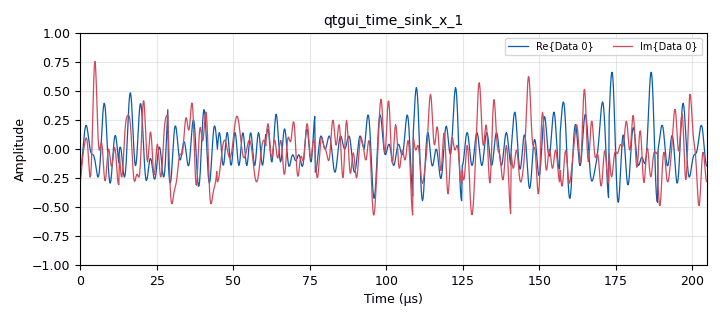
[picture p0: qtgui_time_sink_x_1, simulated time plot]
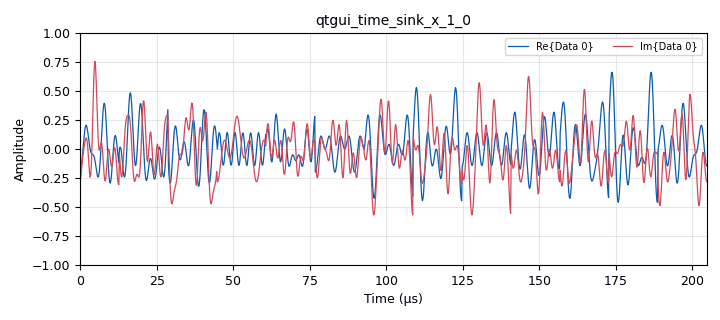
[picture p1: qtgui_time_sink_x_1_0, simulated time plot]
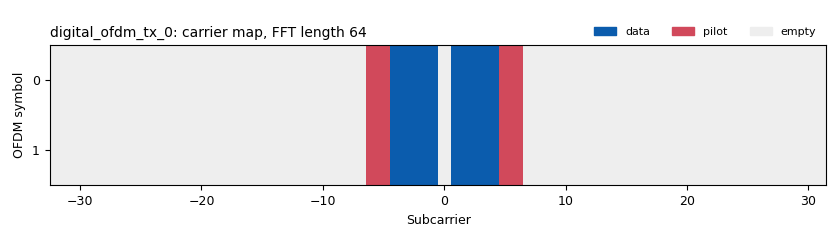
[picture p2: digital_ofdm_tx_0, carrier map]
options:
  parameters:
    category: Custom
    description: Transmit a pre-defined signal (a complex sine) as OFDM packets.
    generate_options: qt_gui
    id: ofdm_loopback_example
    output_language: python
    title: OFDM Loopback Example
  states: {}

blocks:
- name: RX_gain
  id: variable_qtgui_range
  parameters:
    gui_hint: 0,1,1,1
    label: rx_gain
    start: '0'
    step: '1'
    stop: '50'
    value: '10'
  states: {}
- name: TX_gain
  id: variable_qtgui_range
  parameters:
    gui_hint: 0,0,1,1
    label: tx_gain
    start: '0'
    step: '1'
    stop: '50'
    value: '10'
  states: {}
- name: factor
  id: variable_qtgui_range
  parameters:
    start: '0'
    step: '0.01'
    stop: '1'
    value: '0.05'
  states: {}
- name: fft_len
  id: variable
  parameters:
    value: '64'
  states: {}
- name: len_tag_key
  id: variable
  parameters:
    value: '"packet_len"'
  states: {}
- name: packet_len
  id: variable
  parameters:
    value: '50'
  states: {}
- name: samp_rate
  id: variable
  parameters:
    value: 5e6
  states: {}
- name: address0
  id: parameter
  parameters:
    label: UHD dev args
    type: str
    value: '"type=x4xx,mgmt_addr=192.168.1.101,addr=192.168.11.2"'
  states: {}
- name: address1
  id: parameter
  parameters:
    label: UHD dev args
    type: str
    value: '"type=x4xx,mgmt_addr=192.168.1.100,addr=192.168.10.2"'
  states: {}
- name: blocks_multiply_const_vxx_0
  id: blocks_multiply_const_vxx
  parameters:
    const: factor
    type: complex
  states: {}
- name: blocks_multiply_const_vxx_0_0
  id: blocks_multiply_const_vxx
  parameters:
    const: factor
    type: complex
  states: {}
- name: blocks_stream_to_tagged_stream_0
  id: blocks_stream_to_tagged_stream
  parameters:
    len_tag_key: len_tag_key
    packet_len: packet_len
    type: byte
  states: {}
- name: blocks_stream_to_tagged_stream_0_0
  id: blocks_stream_to_tagged_stream
  parameters:
    len_tag_key: len_tag_key
    packet_len: packet_len
    type: byte
  states: {}
- name: blocks_tag_debug_0
  id: blocks_tag_debug
  parameters:
    display: 'False'
    name: Rx Packets
    type: byte
  states: {}
- name: blocks_tag_debug_0_0
  id: blocks_tag_debug
  parameters:
    display: 'False'
    name: Rx Packets
    type: byte
  states: {}
- name: blocks_uchar_to_float_0
  id: blocks_uchar_to_float
  parameters: {}
  states: {}
- name: blocks_uchar_to_float_0_0
  id: blocks_uchar_to_float
  parameters: {}
  states: {}
- name: blocks_vector_source_x_0
  id: blocks_vector_source_x
  parameters:
    repeat: 'True'
    tags: ()
    type: byte
    vector: range(packet_len)
  states: {}
- name: blocks_vector_source_x_0_0
  id: blocks_vector_source_x
  parameters:
    repeat: 'True'
    tags: ()
    type: byte
    vector: range(packet_len)
  states: {}
- name: digital_ofdm_rx_0
  id: digital_ofdm_rx
  parameters:
    cp_len: fft_len//4
    fft_len: fft_len
    header_mod: '"BPSK"'
    occupied_carriers: ((-4,-3,-2,-1,1,2,3,4),)
    packet_len_key: '"rx_len"'
    payload_mod: '"QPSK"'
    pilot_carriers: ((-6,-5,5,6),)
    pilot_symbols: ((-1,1,-1,1),)
    sync_word1: None
    sync_word2: None
  states: {}
- name: digital_ofdm_rx_0_0
  id: digital_ofdm_rx
  parameters:
    cp_len: fft_len//4
    fft_len: fft_len
    header_mod: '"BPSK"'
    occupied_carriers: ((-4,-3,-2,-1,1,2,3,4),)
    packet_len_key: '"rx_len"'
    payload_mod: '"QPSK"'
    pilot_carriers: ((-6,-5,5,6),)
    pilot_symbols: ((-1,1,-1,1),)
    sync_word1: None
    sync_word2: None
  states: {}
- name: digital_ofdm_tx_0
  id: digital_ofdm_tx
  parameters:
    cp_len: fft_len//4
    fft_len: fft_len
    header_mod: '"BPSK"'
    occupied_carriers: ((-4,-3,-2,-1,1,2,3,4),)
    packet_len_key: len_tag_key
    payload_mod: '"QPSK"'
    pilot_carriers: ((-6,-5,5,6),)
    pilot_symbols: ((-1,1,-1,1),)
    rolloff: '0'
    sync_word1: None
    sync_word2: None
  states: {}
- name: digital_ofdm_tx_0_0
  id: digital_ofdm_tx
  parameters:
    cp_len: fft_len//4
    fft_len: fft_len
    header_mod: '"BPSK"'
    occupied_carriers: ((-4,-3,-2,-1,1,2,3,4),)
    packet_len_key: len_tag_key
    payload_mod: '"QPSK"'
    pilot_carriers: ((-6,-5,5,6),)
    pilot_symbols: ((-1,1,-1,1),)
    rolloff: '0'
    sync_word1: None
    sync_word2: None
  states: {}
- name: freq
  id: parameter
  parameters:
    label: Default Frequency
    short_id: f
    type: eng_float
    value: 6.0e9
  states: {}
- name: freq_0
  id: parameter
  parameters:
    label: Default Frequency
    type: eng_float
    value: 5.5e9
  states: {}
- name: qtgui_freq_sink_x_0
  id: qtgui_freq_sink_x
  parameters:
    bw: samp_rate
    fc: '0'
    fftsize: '1024'
    label1: Rx Spectrum
    name: Rx Spectrum
    showports: 'True'
    type: complex
  states: {}
- name: qtgui_freq_sink_x_0_0
  id: qtgui_freq_sink_x
  parameters:
    bw: samp_rate
    fc: '0'
    fftsize: '1024'
    label1: Rx Spectrum
    name: Rx Spectrum
    showports: 'True'
    type: complex
  states: {}
- name: qtgui_time_sink_x_0
  id: qtgui_time_sink_x
  parameters:
    autoscale: 'True'
    label1: ''
    name: Scope Plot
    size: '1024'
    srate: samp_rate
    type: float
  states: {}
- name: qtgui_time_sink_x_0_0
  id: qtgui_time_sink_x
  parameters:
    autoscale: 'True'
    label1: ''
    name: Scope Plot
    size: '1024'
    srate: samp_rate
    type: float
  states: {}
- name: qtgui_time_sink_x_1
  id: qtgui_time_sink_x
  parameters:
    size: '1024'
    srate: samp_rate
    type: complex
  states: {}
- name: qtgui_time_sink_x_1_0
  id: qtgui_time_sink_x
  parameters:
    size: '1024'
    srate: samp_rate
    type: complex
  states: {}
- name: qtgui_time_sink_x_2
  id: qtgui_time_sink_x
  parameters:
    autoscale: 'True'
    size: '1024'
    srate: samp_rate
    type: complex
  states: {}
- name: qtgui_time_sink_x_2_0
  id: qtgui_time_sink_x
  parameters:
    autoscale: 'True'
    size: '1024'
    srate: samp_rate
    type: complex
  states: {}
- name: uhd_usrp_sink_0_0
  id: uhd_usrp_sink
  parameters:
    ant0: '"TX/RX"'
    center_freq0: freq
    clock_rate: '0'
    dev_addr: address1
    dev_args: '""'
    gain0: TX_gain
    len_tag_name: ''
    samp_rate: samp_rate
    stream_args: num_send_frames=512,send_buff_size=25000000
    stream_chans: '[0]'
    sync: pc_clock
    type: fc32
  states: {}
- name: uhd_usrp_sink_0_0_0
  id: uhd_usrp_sink
  parameters:
    ant0: '"TX/RX"'
    center_freq0: freq_0
    clock_rate: '0'
    dev_addr: address0
    dev_args: '""'
    gain0: TX_gain
    len_tag_name: ''
    samp_rate: samp_rate
    stream_args: num_send_frames=512,send_buff_size=25000000
    stream_chans: '[0]'
    sync: pc_clock
    type: fc32
  states: {}
- name: uhd_usrp_source_0_0
  id: uhd_usrp_source
  parameters:
    ant0: '"RX1"'
    center_freq0: freq
    clock_rate: '0'
    dev_addr: address1
    dev_args: '""'
    gain0: RX_gain
    minoutbuf: '262144'
    samp_rate: samp_rate
    stream_args: num_recv_frames=512,recv_buff_size=25000000
    stream_chans: '[0]'
    sync: pc_clock
    type: fc32
  states: {}
- name: uhd_usrp_source_0_0_0
  id: uhd_usrp_source
  parameters:
    ant0: '"RX1"'
    center_freq0: freq_0
    clock_rate: '0'
    dev_addr: address0
    dev_args: '""'
    gain0: RX_gain
    minoutbuf: '262144'
    samp_rate: samp_rate
    stream_args: num_recv_frames=512,recv_buff_size=25000000
    stream_chans: '[0]'
    sync: pc_clock
    type: fc32
  states: {}

connections:
- [blocks_multiply_const_vxx_0, '0', qtgui_time_sink_x_1, '0']
- [blocks_multiply_const_vxx_0, '0', uhd_usrp_sink_0_0, '0']
- [blocks_multiply_const_vxx_0_0, '0', qtgui_time_sink_x_1_0, '0']
- [blocks_multiply_const_vxx_0_0, '0', uhd_usrp_sink_0_0_0, '0']
- [blocks_stream_to_tagged_stream_0, '0', digital_ofdm_tx_0, '0']
- [blocks_stream_to_tagged_stream_0_0, '0', digital_ofdm_tx_0_0, '0']
- [blocks_uchar_to_float_0, '0', qtgui_time_sink_x_0, '0']
- [blocks_uchar_to_float_0_0, '0', qtgui_time_sink_x_0_0, '0']
- [blocks_vector_source_x_0, '0', blocks_stream_to_tagged_stream_0, '0']
- [blocks_vector_source_x_0_0, '0', blocks_stream_to_tagged_stream_0_0, '0']
- [digital_ofdm_rx_0, '0', blocks_tag_debug_0, '0']
- [digital_ofdm_rx_0, '0', blocks_uchar_to_float_0, '0']
- [digital_ofdm_rx_0_0, '0', blocks_tag_debug_0_0, '0']
- [digital_ofdm_rx_0_0, '0', blocks_uchar_to_float_0_0, '0']
- [digital_ofdm_tx_0, '0', blocks_multiply_const_vxx_0, '0']
- [digital_ofdm_tx_0_0, '0', blocks_multiply_const_vxx_0_0, '0']
- [uhd_usrp_source_0_0, '0', digital_ofdm_rx_0, '0']
- [uhd_usrp_source_0_0, '0', qtgui_freq_sink_x_0, '0']
- [uhd_usrp_source_0_0, '0', qtgui_time_sink_x_2, '0']
- [uhd_usrp_source_0_0_0, '0', digital_ofdm_rx_0_0, '0']
- [uhd_usrp_source_0_0_0, '0', qtgui_freq_sink_x_0_0, '0']
- [uhd_usrp_source_0_0_0, '0', qtgui_time_sink_x_2_0, '0']

metadata:
  file_format: 1
  grc_version: 3.10.12.0
